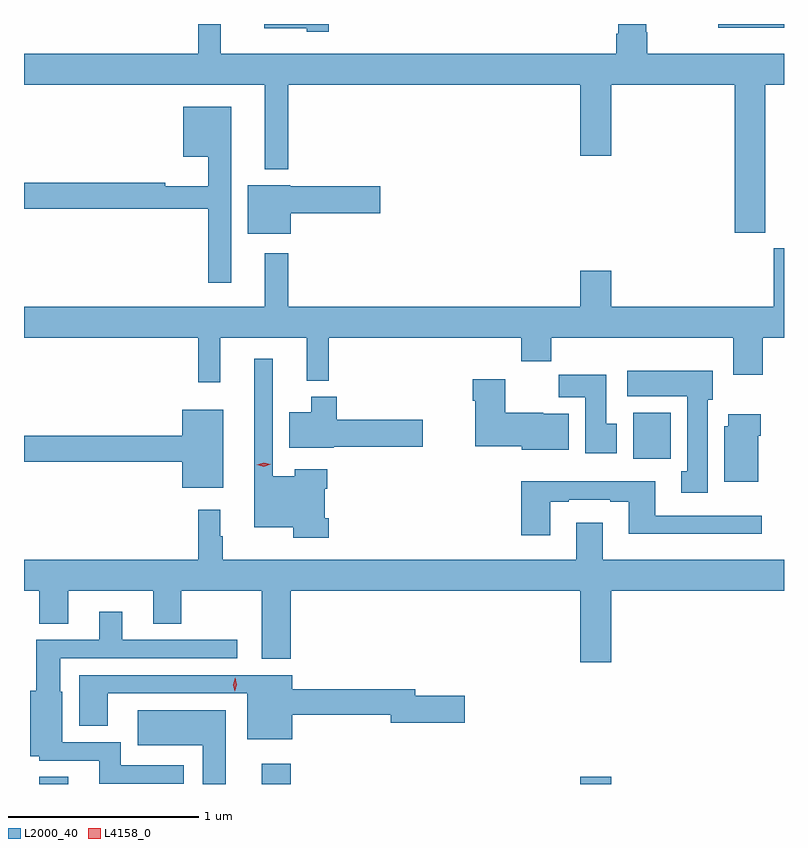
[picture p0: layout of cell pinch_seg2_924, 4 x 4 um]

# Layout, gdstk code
import gdstk
lib = gdstk.Library(unit=1e-6, precision=1e-09)
def R(c, l, rs):  # rectangles x0, y0, x1, y1
    for r in rs: c.add(gdstk.rectangle(r[:2], r[2:], *l))
def P(c, l, *ps):  # polygons
    for p in ps: c.add(gdstk.Polygon(p, *l))
L2000_40 = (2000, 40)
L4158_0 = (4158, 0)

pinch_seg2_924 = lib.new_cell('pinch_seg2_924')
R(pinch_seg2_924, L2000_40, [(341.981,657.276,342.133,657.314), (343.151,657.276,343.304,657.382), (344.828,657.276,344.992,657.313), (345.107,658.988,345.304,659.23), (345.555,661.256,345.901,661.276)])
P(pinch_seg2_924, L2000_40, [(342.936,661.276),(342.817,661.276),(342.817,661.12),(341.901,661.12),(341.901,660.956),(343.169,660.956),(343.169,660.512),(343.291,660.512),(343.291,660.956),(344.828,660.956),(344.828,660.582),(344.992,660.582),(344.992,660.956),(345.641,660.956),(345.641,660.177),(345.801,660.177),(345.801,660.956),(345.901,660.956),(345.901,661.12),(345.182,661.12),(345.182,661.233),(345.177,661.233),(345.177,661.276),(345.029,661.276),(345.029,661.226),(345.017,661.226),(345.017,661.12),(342.936,661.12)],
  [(343.505,661.276),(343.166,661.276),(343.166,661.253),(343.389,661.253),(343.389,661.235),(343.505,661.235)],
  [(342.991,660.841),(342.74,660.841),(342.74,660.578),(342.87,660.578),(342.87,660.421),(342.644,660.421),(342.644,660.44),(341.901,660.44),(341.901,660.304),(342.87,660.304),(342.87,659.913),(342.991,659.913)],
  [(343.306,660.28),(343.777,660.28),(343.777,660.422),(343.302,660.422),(343.302,660.427),(343.079,660.427),(343.079,660.173),(343.306,660.173)],
  [(342.935,659.624),(343.388,659.624),(343.388,659.399),(343.505,659.399),(343.505,659.624),(344.519,659.624),(344.519,659.5),(344.675,659.5),(344.675,659.624),(345.635,659.624),(345.635,659.43),(345.788,659.43),(345.788,659.624),(345.901,659.624),(345.901,660.097),(345.848,660.097),(345.848,659.788),(344.992,659.788),(344.992,659.977),(344.828,659.977),(344.828,659.788),(343.291,659.788),(343.291,660.07),(343.169,660.07),(343.169,659.788),(341.901,659.788),(341.901,659.624),(342.817,659.624),(342.817,659.391),(342.935,659.391)],
  [(343.505,658.675),(343.483,658.675),(343.483,658.829),(343.496,658.829),(343.496,658.933),(343.325,658.933),(343.325,658.897),(343.209,658.897),(343.209,659.515),(343.112,659.515),(343.112,658.628),(343.318,658.628),(343.318,658.571),(343.505,658.571)],
  [(345.499,659.298),(345.526,659.298),(345.526,659.452),(345.075,659.452),(345.075,659.318),(345.392,659.318),(345.392,658.922),(345.359,658.922),(345.359,658.809),(345.499,658.809)],
  [(345.022,659.172),(344.965,659.172),(344.965,659.431),(344.716,659.431),(344.716,659.312),(344.855,659.312),(344.855,659.016),(345.022,659.016)],
  [(344.767,659.224),(344.634,659.224),(344.634,659.23),(344.434,659.23),(344.434,659.407),(344.264,659.407),(344.264,659.294),(344.276,659.294),(344.276,659.054),(344.52,659.054),(344.52,659.036),(344.767,659.036)],
  [(343.53,659.051),(343.999,659.051),(343.999,659.193),(343.547,659.193),(343.547,659.314),(343.412,659.314),(343.412,659.233),(343.298,659.233),(343.298,659.045),(343.53,659.045)],
  [(342.949,659.245),(342.734,659.245),(342.734,659.108),(341.901,659.108),(341.901,658.972),(342.734,658.972),(342.734,658.835),(342.949,658.835)],
  [(345.766,659.108),(345.779,659.108),(345.779,659.221),(345.608,659.221),(345.608,659.16),(345.587,659.16),(345.587,658.868),(345.766,658.868)],
  [(344.671,658.761),(344.767,658.761),(344.767,658.773),(344.987,658.773),(344.987,658.761),(345.083,658.761),(345.083,658.592),(345.784,658.592),(345.784,658.689),(345.223,658.689),(345.223,658.87),(344.519,658.87),(344.519,658.584),(344.671,658.584)],
  [(344.992,658.292),(345.901,658.292),(345.901,658.456),(344.947,658.456),(344.947,658.651),(344.807,658.651),(344.807,658.456),(342.946,658.456),(342.946,658.58),(342.934,658.58),(342.934,658.72),(342.817,658.72),(342.817,658.456),(341.901,658.456),(341.901,658.292),(341.981,658.292),(341.981,658.12),(342.133,658.12),(342.133,658.292),(342.581,658.292),(342.581,658.12),(342.729,658.12),(342.729,658.292),(343.151,658.292),(343.151,657.935),(343.304,657.935),(343.304,658.292),(344.828,658.292),(344.828,657.918),(344.992,657.918)],
  [(342.742,657.375),(342.409,657.375),(342.409,657.495),(342.103,657.495),(342.103,657.762),(342.091,657.762),(342.091,657.939),(343.024,657.939),(343.024,658.035),(342.418,658.035),(342.418,658.183),(342.296,658.183),(342.296,658.035),(341.966,658.035),(341.966,657.766),(341.933,657.766),(341.933,657.422),(341.982,657.422),(341.982,657.399),(342.296,657.399),(342.296,657.278),(342.742,657.278)],
  [(343.312,657.64),(343.832,657.64),(343.832,657.598),(344.221,657.598),(344.221,657.74),(343.96,657.74),(343.96,657.776),(343.312,657.776),(343.312,657.849),(342.191,657.849),(342.191,657.582),(342.343,657.582),(342.343,657.753),(343.076,657.753),(343.076,657.512),(343.312,657.512)],
  [(342.964,657.664),(342.5,657.664),(342.5,657.479),(342.842,657.479),(342.842,657.276),(342.964,657.276)])
P(pinch_seg2_924, L4158_0, [(343.164,658.947),(343.127,658.955),(343.127,658.955),(343.127,658.955),(343.163,658.967),(343.199,658.958),(343.199,658.958),(343.199,658.958)],
  [(343.011,657.763),(343.011,657.763),(343.003,657.799),(343.014,657.835),(343.014,657.835),(343.014,657.835),(343.022,657.798),(343.011,657.763)])

lib.write_gds('pinch_seg2_924.gds')
